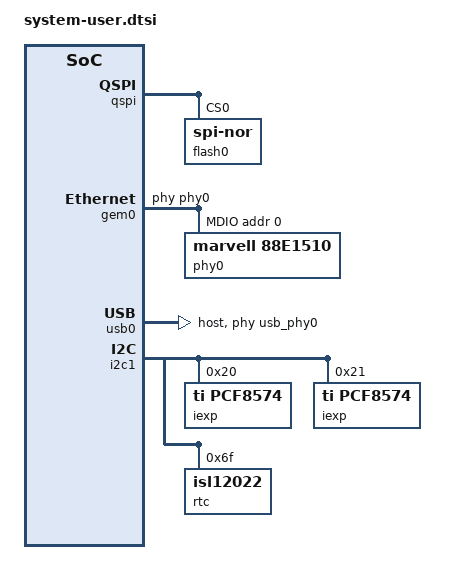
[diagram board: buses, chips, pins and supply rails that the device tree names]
/include/ "system-conf.dtsi"
/ {
};
 
 
/* default */
 
/* QSPI PHY */
&qspi {
    #address-cells = <1>;
    #size-cells = <0>;
    status = "okay";
    flash0: flash@0 {
        compatible = "jedec,spi-nor";
        reg = <0x0>;
        #address-cells = <1>;
        #size-cells = <1>;
    };
};
 
 
/* ETH PHY */
&gem0 {
    phy-handle = <&phy0>;
    /*phy-mode = "sgmii";*/
    mdio {
        #address-cells = <1>;
        #size-cells = <0>;
        phy0: phy@0 {
            compatible = "marvell,88e1510";
            device_type = "ethernet-phy";
            reg = <0>;
        };
    };
};
 
/* USB PHY */
 
/{
    usb_phy0: usb_phy@0 {
        compatible = "ulpi-phy";
        //compatible = "usb-nop-xceiv";
        #phy-cells = <0>;
        reg = <0xe0002000 0x1000>;
        view-port = <0x0170>;
        drv-vbus;
    };
};
 
&usb0 {
    dr_mode = "host";
    //dr_mode = "peripheral";
    usb-phy = <&usb_phy0>;
};
 
/* I2C need I2C1 connected to te0720 system controller ip */
&i2c1 {
 
    iexp@20 {       // GPIO in CPLD
        #gpio-cells = <2>;
        compatible = "ti,pcf8574";
        reg = <0x20>;
        gpio-controller;
    };
 
    iexp@21 {       // GPIO in CPLD
        #gpio-cells = <2>;
        compatible = "ti,pcf8574";
        reg = <0x21>;
        gpio-controller;
    };
 
    rtc@6F {        // Real Time Clock
        compatible = "isl12022";
        reg = <0x6F>;
    };
};

/* added by M0WUT - here there be dragons! */

&SDR_Status_Registers_0 {
	compatible = "m0wut,statusregs";
};


/*/{
	ezdma {
		compatible = "ezdma";
		dmas = <&FFT_axi_dma_0 0>;
		dma-names = "fft_dma";
		ezdma,dirs = <1>;
	};
};*/

